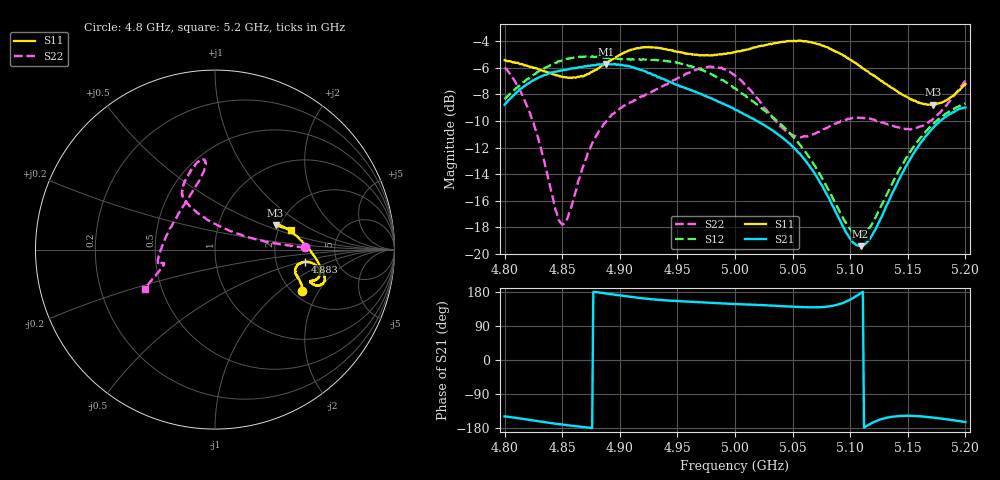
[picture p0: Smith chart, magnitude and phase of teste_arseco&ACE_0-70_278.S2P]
! Network Analyzer HP8722D
! Hewlett-Packard
! Data name: Linha & Wilkinson
! Saver's name: Rodrigo Anjos
! Comments: Teste da utilização de aquisição
! continua pelo VNA HP8722D
! Time and date: 8/5/2025 15:04
!  Frequency  S11  S21  S12  S22
# HZ  S  MA R 50
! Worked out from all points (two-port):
!   401 points, 4.8 GHz to 5.2 GHz, reference 50 ohm
!   highest |S21| = -5.69 dB at 4.888 GHz (marker M1); lowest = -19.4 dB at 5.109 GHz (marker M2)
!   |S21| within 3 dB of the highest: 4.801 GHz to 4.99 GHz (189.1 MHz wide, 3.86 % of centre)
!   lowest |S11| = -8.8 dB at 5.172 GHz (marker M3), VSWR 2.15, Z = 94.7 + j30 ohm
!   |S11| at or under -10 dB: nowhere
!   |S22| runs from -17.8 to -5.9 dB; largest |S21 - S12| = 1.1
!   S11 on the Smith chart (normalised r, x): 4.8 GHz: 2.24, -1.44; 4.883 GHz: 2.93, -0.54; 5.2 GHz: 2.33, +0.64
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4.8e9  0.5362 -25.4  0.3641 -148.9  0.3815 10.5  0.5024 1.3
4.812e9  0.5229 -22.2  0.4107 -153.7  0.4283 8.8  0.4237 2.7
4.823e9  0.5056 -20.4  0.4453 -158.6  0.4645 7.3  0.3288 6.3
4.845e9  0.4692 -16.8  0.4858 -168.5  0.5242 3.8  0.1432 41.8
4.849e9  0.4652 -15.9  0.4909 -170.0  0.5337 3.0  0.13 59.2
4.855e9  0.4601 -14.3  0.4953 -172.3  0.5433 2.2  0.1372 85.3
4.867e9  0.4652 -10.8  0.5044 -176.5  0.5514 0.5  0.2059 112.0
4.883e9  0.5059 -7.8  0.5156 177.7  0.5486 -0.9  0.2941 120.7
4.888e9  0.5228 -7.7  0.5193 175.6  0.5476 -1.0  0.3139 121.3
4.911e9  0.5882 -10.4  0.5048 166.2  0.5418 -0.4  0.3745 119.0
4.934e9  0.5966 -15.4  0.4629 158.4  0.5367 -1.4  0.4207 113.0
4.975e9  0.5598 -18.4  0.3922 151.3  0.4853 -5.2  0.5044 99.0
5e9  0.5756 -19.3  0.3489 147.6  0.4199 -5.2  0.4698 96.6
5.044e9  0.6306 -17.5  0.2676 141.7  0.295 3.1  0.2911 131.4
5.067e9  0.6248 -13.3  0.2072 139.0  0.2223 9.5  0.2809 164.4
5.098e9  0.5454 -2.7  0.1175 156.5  0.1271 37.3  0.3226 -170.5
5.109e9  0.5077 2.5  0.1066 175.9  0.117 59.0  0.3252 -167.5
5.118e9  0.4749 6.9  0.1154 -167.7  0.1274 76.4  0.3225 -166.1
5.134e9  0.428 14.6  0.1597 -150.9  0.1749 94.8  0.3072 -165.7
5.153e9  0.3811 20.9  0.2307 -147.2  0.2451 101.5  0.2943 -164.3
5.172e9  0.3642 22.1  0.2979 -151.8  0.3084 102.6  0.3223 -160.0
5.2e9  0.4358 14.9  0.3557 -163.6  0.3683 102.9  0.4489 -150.7
